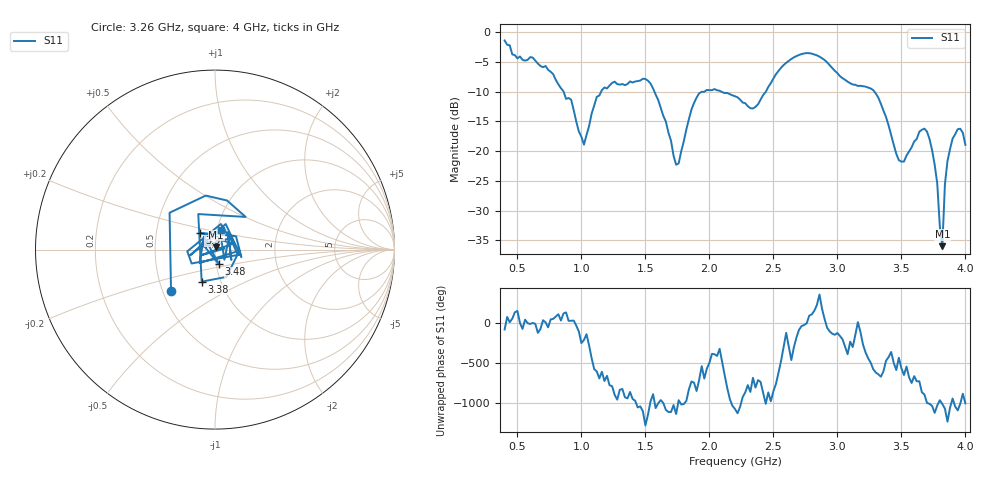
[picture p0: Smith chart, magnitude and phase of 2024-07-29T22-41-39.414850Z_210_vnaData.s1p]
!Created with skrf (http://scikit-rf.org).
# Hz S RI R 50.0
!freq ReS11 ImS11
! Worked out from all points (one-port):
!   181 points, 400 MHz to 4 GHz, reference 50 ohm
!   lowest |S11| = -36.0 dB at 3.82 GHz (marker M1), VSWR 1.03, Z = 50.7 + j1.45 ohm
!   |S11| at or under -10 dB: 1.571 GHz to 1.961 GHz (390.2 MHz wide, 22.1 % of centre); 2.094 GHz to 2.441 GHz (347.1 MHz wide, 15.3 % of centre); 3.289 GHz to end of sweep (the widest 3 of 4)
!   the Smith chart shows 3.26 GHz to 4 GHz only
!   S11 on the Smith chart (normalised r, x): 3.26 GHz: 0.55, -0.29; 3.38 GHz: 0.81, -0.30; 3.48 GHz: 1.03, -0.17; 3.9 GHz: 0.83, +0.16; 4 GHz: 1.05, +0.23
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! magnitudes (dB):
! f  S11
! 400 MHz  -1.4
! 720 MHz  -5.7
! 860 MHz  -9.9
! 920 MHz  -11.4
! 1.02 GHz  -18.9
! 1.12 GHz  -10.9
! 1.3 GHz  -8.8
! 1.54 GHz  -8.6
! 1.76 GHz  -22.0
! 1.86 GHz  -13.0
! 1.92 GHz  -10.3
! 2.2 GHz  -10.8
! 2.36 GHz  -12.6
! 2.66 GHz  -4.2
! 2.84 GHz  -3.9
! 3.1 GHz  -8.6
! 3.26 GHz  -9.5
! 3.38 GHz  -14.3
! 3.48 GHz  -21.5
! 3.56 GHz  -20.0
! 3.7 GHz  -16.7
! 3.78 GHz  -25.4
! 3.8 GHz  -32.5
! 3.82 GHz  -36.0
! 3.84 GHz  -25.6
! 3.9 GHz  -17.9
! 3.96 GHz  -16.2
! 4 GHz  -18.9
